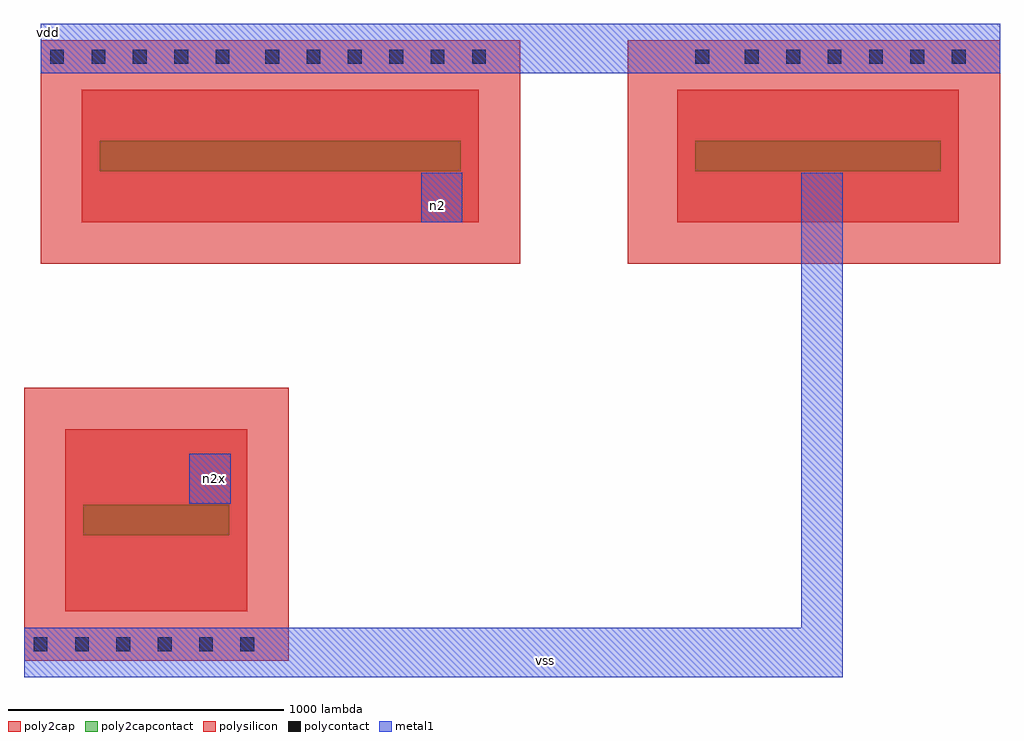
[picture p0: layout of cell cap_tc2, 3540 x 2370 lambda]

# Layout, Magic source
magic
tech amic5n
<< poly2capcontact >>
rect 935 1835 2245 1945
<< poly2capcontact >>
rect 3095 1835 3985 1945
<< poly2capcontact >>
rect 875 515 1405 625
<< poly2cap >>
rect 870 1650 2310 2130
rect 3030 1650 4050 2130
rect 810 240 1470 900
<< polysilicon >>
rect 720 1500 2460 2310
rect 2850 1500 4200 2310
rect 660 60 1620 1050
<< polycontact >>
rect 755 2225 805 2275
<< polycontact >>
rect 905 2225 955 2275
<< polycontact >>
rect 1055 2225 1105 2275
<< polycontact >>
rect 1205 2225 1255 2275
<< polycontact >>
rect 1355 2225 1405 2275
<< polycontact >>
rect 1535 2225 1585 2275
<< polycontact >>
rect 1685 2225 1735 2275
<< polycontact >>
rect 1835 2225 1885 2275
<< polycontact >>
rect 1985 2225 2035 2275
<< polycontact >>
rect 2135 2225 2185 2275
<< polycontact >>
rect 2285 2225 2335 2275
<< polycontact >>
rect 3095 2225 3145 2275
<< polycontact >>
rect 3275 2225 3325 2275
<< polycontact >>
rect 3425 2225 3475 2275
<< polycontact >>
rect 3575 2225 3625 2275
<< polycontact >>
rect 3725 2225 3775 2275
<< polycontact >>
rect 3875 2225 3925 2275
<< polycontact >>
rect 4025 2225 4075 2275
<< polycontact >>
rect 695 95 745 145
<< polycontact >>
rect 845 95 895 145
<< polycontact >>
rect 995 95 1045 145
<< polycontact >>
rect 1145 95 1195 145
<< polycontact >>
rect 1295 95 1345 145
<< polycontact >>
rect 1445 95 1495 145
<< metal1 >>
rect 720 2190 4200 2370
rect 2100 1650 2250 1830
rect 1260 630 1410 810
rect 3480 180 3630 1830
rect 660 0 3630 180
<< labels >>
flabel metal1 s 2160 1710 2160 1710 2 FreeSans 400 0 0 0 n2
port 1 ne
flabel metal1  750 2340 750 2340 2 FreeSans 400 0 0 0 vdd
port 3 ne
flabel metal1  2550 60 2550 60 2 FreeSans 400 0 0 0 vss
port 4 ne
flabel metal1 s 1350 720 1350 720 2 FreeSans 400 0 0 0 n2x
port 2 ne
<< end >>
